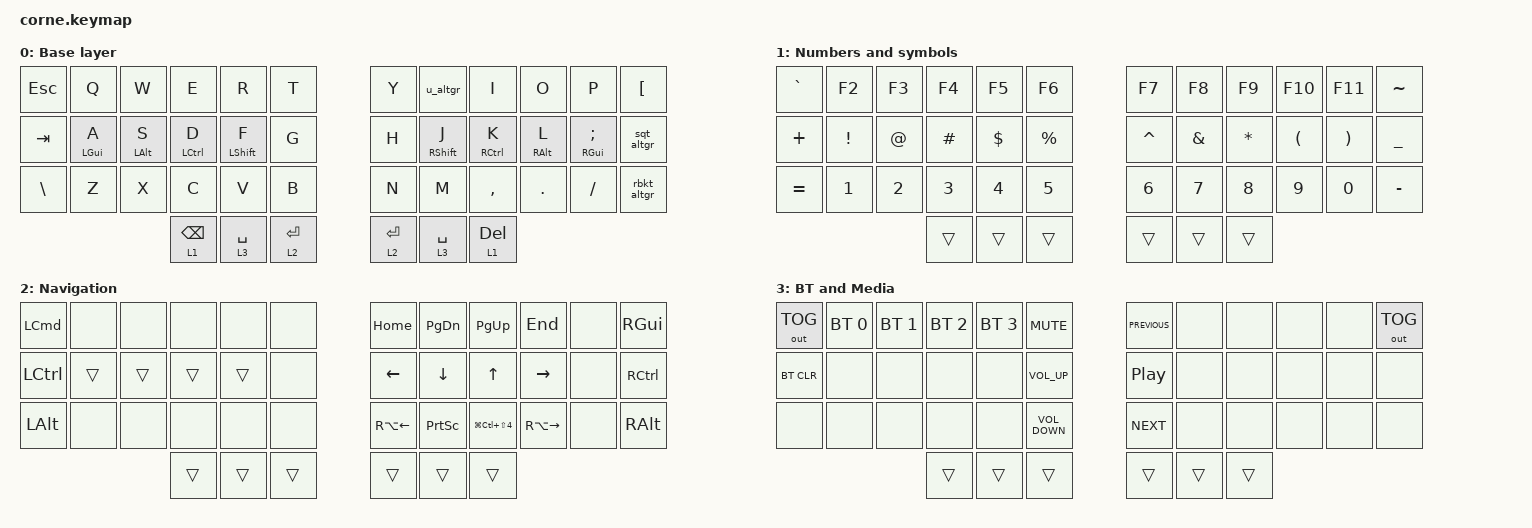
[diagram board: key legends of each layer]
/*
 * Copyright (c) 2020 The ZMK Contributors
 *
 * SPDX-License-Identifier: MIT
 */

#include <behaviors.dtsi>
#include <dt-bindings/zmk/bt.h>
#include <dt-bindings/zmk/keys.h>
#include <dt-bindings/zmk/outputs.h>

// dt-formatter: indent = "  "
// dt-formatter: reindentMultilineIntegerCells = "dedent"

&mt {
  // flavor = "balanced";
  // tapping-term-ms = <125>;
  // quick-tap-ms = <100>;
  // global-quick-tap;
};

&lt {
  // flavor = "balanced";
  // tapping-term-ms = <250>;
  // quick-tap-ms = <100>;
  // global-quick-tap;

  quick-tap-ms = <175>;
  tapping-term-ms = <280>;
  require-prior-idle-ms = <150>;
  flavor = "balanced";
};

/ {
  // behaviors {
  //   hm: homerow_mods {
  //     compatible = "zmk,behavior-hold-tap";
  //     label = "HOMEROW_MODS";
  //     #binding-cells = <2>;
  //     tapping-term-ms = <200>;
  //     quick-tap-ms = <0>;
  //     flavor = "tap-preferred";
  //     bindings =
  //       <&kp>,
  //       <&kp>;
  //   };
  // };

  combos {
    compatible = "zmk,combos";

    caps {
      bindings = <&kp CAPS>;
      key-positions = <12 13>;
      layers = <0>;
    };

    nubs {
      bindings = <&kp NUBS>;
      key-positions = <4 3>;
      layers = <0>;
    };

    nuhs {
      bindings = <&kp NON_US_HASH>;
      key-positions = <7 8>;
      layers = <0>;
    };

    nums_comma {
      bindings = <&kp COMMA>;
      key-positions = <16 15>;
      layers = <1>;
    };

    nums_dot {
      bindings = <&kp DOT>;
      key-positions = <19 20>;
      layers = <1>;
    };
  };

  behaviors {
    hml: hml {
      compatible = "zmk,behavior-hold-tap";
      label = "Left HomeRow Mods";
      bindings = <&kp>, <&kp>;

      #binding-cells = <2>;
      tapping-term-ms = <280>;
      quick-tap-ms = <175>;
      require-prior-idle-ms = <150>;
      flavor = "balanced";
      hold-trigger-key-positions = <6 7 8 9 10 11 18 19 20 21 22 23 30 31 32 33 34 35 39 40 41 38 37 36>;
      hold-trigger-on-release;
    };

    hmr: hmr {
      compatible = "zmk,behavior-hold-tap";
      label = "Right HomeRow Mods";
      bindings = <&kp>, <&kp>;

      #binding-cells = <2>;
      tapping-term-ms = <280>;
      quick-tap-ms = <175>;
      require-prior-idle-ms = <150>;
      flavor = "balanced";
      hold-trigger-on-release;
      hold-trigger-key-positions = <0 1 2 3 4 5 12 13 14 15 16 17 24 25 26 27 28 29 36 37 38 39 40 41>;
    };

    sqt_altgr: sqt_altgr {
      compatible = "zmk,behavior-mod-morph";
      label = "SQT_ALTGR";
      bindings = <&kp SQT>, <&kp RA(SQT)>;

      #binding-cells = <0>;
      mods = <(MOD_LALT)>;
    };

    u_altgr: u_altgr {
      compatible = "zmk,behavior-mod-morph";
      label = "U_ALTGR";
      bindings = <&kp U>, <&kp RA(U)>;

      #binding-cells = <0>;
      mods = <(MOD_LALT)>;
    };

    rbkt_altgr: rbkt_altgr {
      compatible = "zmk,behavior-mod-morph";
      label = "RBKT_ALTGR";
      bindings = <&kp RIGHT_BRACKET>, <&kp RA(RIGHT_BRACKET)>;

      #binding-cells = <0>;
      mods = <(MOD_LALT)>;
    };
  };

  keymap {
    compatible = "zmk,keymap";

    base {
      label = "Base layer";
      bindings = <
&kp ESCAPE     &kp Q            &kp W            &kp E            &kp R              &kp T          &kp Y        &u_altgr            &kp I         &kp O             &kp P                     &kp LEFT_BRACKET
&kp TAB        &hml LEFT_GUI A  &hml LEFT_ALT S  &hml LCTRL D     &hml LEFT_SHIFT F  &kp G          &kp H        &hmr RIGHT_SHIFT J  &hmr RCTRL K  &hmr RIGHT_ALT L  &hmr RIGHT_GUI SEMICOLON  &sqt_altgr
&kp BACKSLASH  &kp Z            &kp X            &kp C            &kp V              &kp B          &kp N        &kp M               &kp COMMA     &kp DOT           &kp FSLH                  &rbkt_altgr
                                                 &lt 1 BACKSPACE  &lt 3 SPACE        &lt 2 ENTER    &lt 2 ENTER  &lt 3 SPACE         &lt 1 DEL
      >;
    };

    nums {
      label = "Numbers and symbols";
      bindings = <
&kp GRAVE  &kp F2        &kp F3  &kp F4    &kp F5      &kp F6         &kp F7     &kp F8         &kp F9        &kp F10               &kp F11                &kp TILDE
&kp PLUS   &kp EXCL      &kp AT  &kp HASH  &kp DOLLAR  &kp PERCENT    &kp CARET  &kp AMPERSAND  &kp ASTERISK  &kp LEFT_PARENTHESIS  &kp RIGHT_PARENTHESIS  &kp UNDER
&kp EQUAL  &kp NUMBER_1  &kp N2  &kp N3    &kp N4      &kp N5         &kp N6     &kp N7         &kp N8        &kp N9                &kp N0                 &kp MINUS
                                 &trans    &trans      &trans         &trans     &trans         &trans
      >;
    };

    navi {
      label = "Navigation";
      bindings = <
&kp LCMD      &none   &none   &none   &none   &none     &kp HOME      &kp PG_DN        &kp PG_UP           &kp END              &none  &kp RIGHT_GUI
&kp LCTRL     &trans  &trans  &trans  &trans  &none     &kp LEFT      &kp DOWN         &kp UP              &kp RIGHT            &none  &kp RCTRL
&kp LEFT_ALT  &none   &none   &none   &none   &none     &kp RA(LEFT)  &kp PRINTSCREEN  &kp LG(LC(LS(N4)))  &kp RA(RIGHT_ARROW)  &none  &kp RALT
                              &trans  &trans  &trans    &trans        &trans           &trans
      >;
    };

    bt_media {
      label = "BT and Media";
      bindings = <
&out OUT_TOG  &bt BT_SEL 0  &bt BT_SEL 1  &bt BT_SEL 2  &bt BT_SEL 3  &kp C_MUTE           &kp C_PREVIOUS    &none   &none   &none  &none  &out OUT_TOG
&bt BT_CLR    &none         &none         &none         &none         &kp C_VOLUME_UP      &kp C_PLAY_PAUSE  &none   &none   &none  &none  &none
&none         &none         &none         &none         &none         &kp C_VOLUME_DOWN    &kp C_NEXT        &none   &none   &none  &none  &none
                                          &trans        &trans        &trans               &trans            &trans  &trans
      >;
    };
  };
};
